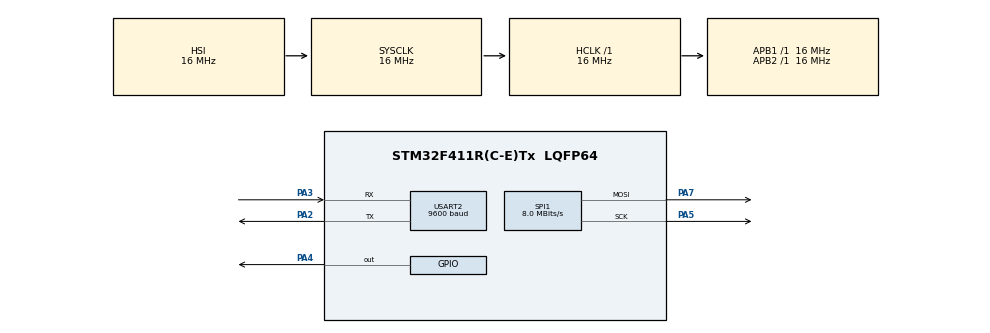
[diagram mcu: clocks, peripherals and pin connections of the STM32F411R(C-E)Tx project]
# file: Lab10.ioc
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Mcu.Family=STM32F4
Mcu.Name=STM32F411R(C-E)Tx
Mcu.Package=LQFP64
NVIC.PriorityGroup=NVIC_PRIORITYGROUP_4
NVIC.SPI1_IRQn=true\:0\:0\:false\:false\:true\:true\:true\:true
NVIC.TIM2_IRQn=true\:0\:0\:false\:false\:true\:true\:true\:true
NVIC.TIM3_IRQn=true\:0\:0\:false\:false\:true\:true\:true\:true
NVIC.USART2_IRQn=true\:0\:0\:false\:false\:true\:true\:true\:true
PA13.Mode=Serial_Wire
PA13.Signal=SYS_JTMS-SWDIO
PA14.Mode=Serial_Wire
PA14.Signal=SYS_JTCK-SWCLK
PA2.Mode=Asynchronous
PA2.Signal=USART2_TX
PA3.Mode=Asynchronous
PA3.Signal=USART2_RX
PA4.Signal=GPIO_Output
PA5.Mode=TX_Only_Simplex_Unidirect_Master
PA5.Signal=SPI1_SCK
PA7.Mode=TX_Only_Simplex_Unidirect_Master
PA7.Signal=SPI1_MOSI
PH0\ -\ OSC_IN.Mode=HSE-External-Oscillator
PH0\ -\ OSC_IN.Signal=RCC_OSC_IN
PH1\ -\ OSC_OUT.Mode=HSE-External-Oscillator
PH1\ -\ OSC_OUT.Signal=RCC_OSC_OUT
ProjectManager.HeapSize=0x200
ProjectManager.StackSize=0x400
ProjectManager.TargetToolchain=MDK-ARM V5.32
RCC.AHBFreq_Value=16000000
RCC.APB1Freq_Value=16000000
RCC.APB2Freq_Value=16000000
RCC.CortexFreq_Value=16000000
RCC.HSE_VALUE=25000000
RCC.HSI_VALUE=16000000
RCC.LSE_VALUE=32768
RCC.SYSCLKFreq_VALUE=16000000
RCC.VCOOutputFreq_Value=192000000
SPI1.CalculateBaudRate=8.0 MBits/s
SPI1.Direction=SPI_DIRECTION_2LINES
SPI1.Mode=SPI_MODE_MASTER
SPI1.VirtualType=VM_MASTER
TIM2.Period=1000-1
TIM2.Prescaler=16000-1
TIM3.Period=500-1
TIM3.Prescaler=16000-1
USART2.BaudRate=9600
USART2.VirtualMode=VM_ASYNC
VP_TIM2_VS_ClockSourceINT.Mode=Internal
VP_TIM3_VS_ClockSourceINT.Mode=Internal
board=custom

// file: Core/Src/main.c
/* USER CODE BEGIN Header */
/**
  ******************************************************************************
  * @file           : main.c
  * @brief          : Main program body
  ******************************************************************************
  * @attention
  *
  * Copyright (c) 2023 STMicroelectronics.
  * All rights reserved.
  *
  * This software is licensed under terms that can be found in the LICENSE file
  * in the root directory of this software component.
  * If no LICENSE file comes with this software, it is provided AS-IS.
  *
  ******************************************************************************
  */
/* USER CODE END Header */
#include "main.h"

/* USER CODE BEGIN PD */
/* MAX7219 Registers */
#define MAX7219_REG_NOOP        0x00
#define MAX7219_REG_DIGIT0      0x01
#define MAX7219_REG_DECODEMODE  0x09
#define MAX7219_REG_INTENSITY   0x0A
#define MAX7219_REG_SCANLIMIT   0x0B
#define MAX7219_REG_SHUTDOWN    0x0C
#define MAX7219_REG_DISPLAYTEST 0x0F
/* USER CODE END PD */

SPI_HandleTypeDef hspi1;

TIM_HandleTypeDef htim2;
TIM_HandleTypeDef htim3;

UART_HandleTypeDef huart2;

/* USER CODE BEGIN PV */
uint8_t Rx_data[10];
uint8_t write_buffer[2000];
volatile int write_buffer_tail = 0;
char N_str[10];
int N_str_tail = 0;
volatile int N = 0;
volatile int row = 1;
/* USER CODE END PV */

void SystemClock_Config(void);
static void MX_GPIO_Init(void);
static void MX_TIM2_Init(void);
static void MX_SPI1_Init(void);
static void MX_USART2_UART_Init(void);
static void MX_TIM3_Init(void);
/* USER CODE BEGIN PFP */
int pascal(int row, int col);
int atoi(char* str);
void itoa(int num, char* str);
int intlen(int num);
void string_to_buffer(char* str);
void char_to_buffer(char c);
void indent(int num);
void MAX7219_DisplayNumber(uint8_t digit, uint8_t value);
void MAX7219_Init();
void MAX7219_Write(uint8_t reg, uint8_t data);
void MAX7219_ClearAllDigits();
/* USER CODE END PFP */

/* USER CODE BEGIN 0 */

int pascal_output[1000], pcnt, pascal_output_flag = 0, pointer;

void HAL_UART_RxCpltCallback(UART_HandleTypeDef *huart)
{
  if (Rx_data[0] != '\r')
  {
    N_str[N_str_tail++] = Rx_data[0];
    HAL_UART_Transmit_IT(&huart2, Rx_data, 1);
    HAL_UART_Receive_IT (&huart2, Rx_data, 1);
  }
  else
  {
    N_str[N_str_tail] = '\0';
    N_str_tail = 0;
    N = atoi(N_str);
		row = N;
		pascal_output_flag = 0;

    char_to_buffer('\r');
    char_to_buffer('\n');
    HAL_UART_Transmit_IT(&huart2, write_buffer, write_buffer_tail);
  }
}

void HAL_UART_TxCpltCallback(UART_HandleTypeDef *huart)
{
  write_buffer_tail = 0;
}

void MAX7219_displayPascal() {
	if(N == 0) return;
	int r = N;

	if(pascal_output_flag == 0) {
		pcnt = 0;
		pointer = 0;

		for(; pcnt<8; pcnt++) {
			pascal_output[pcnt] = 0x0F;
		}

		for(int i=1; i<=r; i++) {
			int num = pascal(r, i), d=0;
			int digits[10];
			while(num > 0) {
				digits[d] = num%10;
				d++;
				num /= 10;
			}
			for(int i=d-1; i>=0; i--) {
				pascal_output[pcnt] = digits[i];
				pcnt++;
			}
			pascal_output[pcnt] = 0x0F;
			pcnt++;
		}
		pascal_output_flag = 1;
	}

	int k = pointer;
	for(int i=7; i>=0; i--) {
		if(k >= pcnt) {
			k = 0;
		}
		MAX7219_DisplayNumber(i, pascal_output[k]);
		k++;
	}
	pointer++;
	if(pointer>=pcnt) {
		pointer = 0;
	}
}

volatile int TIM2_cnt = 0, display_flag = 0, first_flag = 1;
void HAL_TIM_PeriodElapsedCallback(TIM_HandleTypeDef *htim)
{
//	if (htim->Instance == TIM2 && first_flag == 1)
//	{
//		//MAX7219_displayPascal();
//		if (row <= N)
//		{
//			indent(N - row);
//
//			for (int i = 1; i <= row; i++) // Origin: i = 1
//			{
//				int num = pascal(row, i);
//				char str[10];
//				itoa(num, str);
//
//				string_to_buffer(str);
//				char_to_buffer(' ');
//			}
//			char_to_buffer('\r');
//			char_to_buffer('\n');

//			HAL_UART_Transmit_IT(&huart2, write_buffer, write_buffer_tail);

//
////			if (++row > N)
////			{
////				char_to_buffer('\r');
////				char_to_buffer('\n');
////				char str[] = "Enter N: \0";
////				string_to_buffer(str);
////				HAL_UART_Transmit_IT(&huart2, write_buffer, write_buffer_tail);
////
////				HAL_UART_Receive_IT (&huart2, Rx_data, 1);

////				row = N;
////				//N = 0;
////			}
//		}
//		first_flag = 0;
//	}
	if(htim->Instance == TIM3) {
		MAX7219_displayPascal();
	}
}

int pascal(int row, int col)
{
	if (col == 1 || row == col)
		return 1;
	else
		return pascal(row - 1, col) + pascal(row - 1, col - 1);
}

int atoi(char* str)
{
  int res = 0;
  for (int i = 0; str[i] != '\0'; ++i)
    res = res * 10 + str[i] - '0';
  return res;
}

void itoa(int num, char* str)
{
  if (num == 0)
  {
    str[0] = '0';
    str[1] = '\0';
    return;
  }

  int i = intlen(num);
  str[i--] = '\0';

  while (num != 0)
  {
    int rem = num % 10;
    str[i--] = rem + '0';
    num = num/10;
  }
}

int intlen(int num)
{
  int len = 0;
  while (num != 0)
  {
    num = num/10;
    len++;
  }
  return len;
}

void string_to_buffer(char* str)
{
  for (int i = 0; str[i] != '\0'; i++)
  {
    write_buffer[write_buffer_tail++] = str[i];
  }
}

void char_to_buffer(char c)
{
  write_buffer[write_buffer_tail++] = c;
}

void indent(int num)
{
  for (int i = 0; i < num; i++)
  {
    write_buffer[write_buffer_tail++] = ' ';
  }
}

void MAX7219_Write(uint8_t reg, uint8_t data) {
    uint8_t txData[2];
    txData[0] = reg;
    txData[1] = data;
    HAL_GPIO_WritePin(GPIOA, GPIO_PIN_4, GPIO_PIN_RESET);
    HAL_SPI_Transmit(&hspi1, txData, 2, 100);
    HAL_GPIO_WritePin(GPIOA, GPIO_PIN_4, GPIO_PIN_SET);
}

void MAX7219_Init() {
    MAX7219_Write(MAX7219_REG_SHUTDOWN, 0x01);      // Exit shutdown mode
    MAX7219_Write(MAX7219_REG_SCANLIMIT, 0x07);     // Scan all digits
    MAX7219_Write(MAX7219_REG_DECODEMODE, 0xFF);    // Use BCD decode for all digits
    MAX7219_Write(MAX7219_REG_DISPLAYTEST, 0x00);   // Disable test mode
    MAX7219_Write(MAX7219_REG_INTENSITY, 0x0F);     // Set brightness
		MAX7219_ClearAllDigits(); // Clear Digits
}

void MAX7219_DisplayNumber(uint8_t digit, uint8_t value) {
    MAX7219_Write(MAX7219_REG_DIGIT0 + digit, value);
}

void MAX7219_ClearAllDigits() {
    for (uint8_t i = 0; i < 8; i++) {
        MAX7219_Write(MAX7219_REG_DIGIT0 + i, 0x0F); // Send blank code
    }
}

/* USER CODE END 0 */

int main(void)
{

  /* MCU Configuration--------------------------------------------------------*/

  /* Reset of all peripherals, Initializes the Flash interface and the Systick. */
  HAL_Init();

  /* Configure the system clock */
  SystemClock_Config();

  /* Initialize all configured peripherals */
  MX_GPIO_Init();
  MX_TIM2_Init();
  MX_SPI1_Init();
  MX_USART2_UART_Init();
  MX_TIM3_Init();
  /* USER CODE BEGIN 2 */
	MAX7219_Init();
  char str[] = "Enter N: \0";
  string_to_buffer(str);
  HAL_UART_Transmit_IT(&huart2, write_buffer, write_buffer_tail);

	HAL_UART_Receive_IT (&huart2, Rx_data, 1);
	HAL_TIM_Base_Start_IT(&htim2);
	HAL_TIM_Base_Start_IT(&htim3);

  /* USER CODE END 2 */

  /* Infinite loop */
  while (1)
  {

  }
}

void SystemClock_Config(void)
{
  RCC_OscInitTypeDef RCC_OscInitStruct = {0};
  RCC_ClkInitTypeDef RCC_ClkInitStruct = {0};

  /** Configure the main internal regulator output voltage
  */
  __HAL_RCC_PWR_CLK_ENABLE();
  __HAL_PWR_VOLTAGESCALING_CONFIG(PWR_REGULATOR_VOLTAGE_SCALE1);

  /** Initializes the RCC Oscillators according to the specified parameters
  * in the RCC_OscInitTypeDef structure.
  */
  RCC_OscInitStruct.OscillatorType = RCC_OSCILLATORTYPE_HSI;
  RCC_OscInitStruct.HSIState = RCC_HSI_ON;
  RCC_OscInitStruct.HSICalibrationValue = RCC_HSICALIBRATION_DEFAULT;
  RCC_OscInitStruct.PLL.PLLState = RCC_PLL_NONE;
  if (HAL_RCC_OscConfig(&RCC_OscInitStruct) != HAL_OK)
  {
    Error_Handler();
  }

  /** Initializes the CPU, AHB and APB buses clocks
  */
  RCC_ClkInitStruct.ClockType = RCC_CLOCKTYPE_HCLK|RCC_CLOCKTYPE_SYSCLK
                              |RCC_CLOCKTYPE_PCLK1|RCC_CLOCKTYPE_PCLK2;
  RCC_ClkInitStruct.SYSCLKSource = RCC_SYSCLKSOURCE_HSI;
  RCC_ClkInitStruct.AHBCLKDivider = RCC_SYSCLK_DIV1;
  RCC_ClkInitStruct.APB1CLKDivider = RCC_HCLK_DIV1;
  RCC_ClkInitStruct.APB2CLKDivider = RCC_HCLK_DIV1;

  if (HAL_RCC_ClockConfig(&RCC_ClkInitStruct, FLASH_LATENCY_0) != HAL_OK)
  {
    Error_Handler();
  }
}

static void MX_SPI1_Init(void)
{

  /* SPI1 parameter configuration*/
  hspi1.Instance = SPI1;
  hspi1.Init.Mode = SPI_MODE_MASTER;
  hspi1.Init.Direction = SPI_DIRECTION_2LINES;
  hspi1.Init.DataSize = SPI_DATASIZE_8BIT;
  hspi1.Init.CLKPolarity = SPI_POLARITY_LOW;
  hspi1.Init.CLKPhase = SPI_PHASE_1EDGE;
  hspi1.Init.NSS = SPI_NSS_SOFT;
  hspi1.Init.BaudRatePrescaler = SPI_BAUDRATEPRESCALER_2;
  hspi1.Init.FirstBit = SPI_FIRSTBIT_MSB;
  hspi1.Init.TIMode = SPI_TIMODE_DISABLE;
  hspi1.Init.CRCCalculation = SPI_CRCCALCULATION_DISABLE;
  hspi1.Init.CRCPolynomial = 10;
  if (HAL_SPI_Init(&hspi1) != HAL_OK)
  {
    Error_Handler();
  }

}

static void MX_TIM2_Init(void)
{

  TIM_ClockConfigTypeDef sClockSourceConfig = {0};
  TIM_MasterConfigTypeDef sMasterConfig = {0};

  htim2.Instance = TIM2;
  htim2.Init.Prescaler = 16000-1;
  htim2.Init.CounterMode = TIM_COUNTERMODE_UP;
  htim2.Init.Period = 1000-1;
  htim2.Init.ClockDivision = TIM_CLOCKDIVISION_DIV1;
  htim2.Init.AutoReloadPreload = TIM_AUTORELOAD_PRELOAD_DISABLE;
  if (HAL_TIM_Base_Init(&htim2) != HAL_OK)
  {
    Error_Handler();
  }
  sClockSourceConfig.ClockSource = TIM_CLOCKSOURCE_INTERNAL;
  if (HAL_TIM_ConfigClockSource(&htim2, &sClockSourceConfig) != HAL_OK)
  {
    Error_Handler();
  }
  sMasterConfig.MasterOutputTrigger = TIM_TRGO_RESET;
  sMasterConfig.MasterSlaveMode = TIM_MASTERSLAVEMODE_DISABLE;
  if (HAL_TIMEx_MasterConfigSynchronization(&htim2, &sMasterConfig) != HAL_OK)
  {
    Error_Handler();
  }

}

static void MX_TIM3_Init(void)
{

  TIM_ClockConfigTypeDef sClockSourceConfig = {0};
  TIM_MasterConfigTypeDef sMasterConfig = {0};

  htim3.Instance = TIM3;
  htim3.Init.Prescaler = 16000-1;
  htim3.Init.CounterMode = TIM_COUNTERMODE_UP;
  htim3.Init.Period = 500-1;
  htim3.Init.ClockDivision = TIM_CLOCKDIVISION_DIV1;
  htim3.Init.AutoReloadPreload = TIM_AUTORELOAD_PRELOAD_DISABLE;
  if (HAL_TIM_Base_Init(&htim3) != HAL_OK)
  {
    Error_Handler();
  }
  sClockSourceConfig.ClockSource = TIM_CLOCKSOURCE_INTERNAL;
  if (HAL_TIM_ConfigClockSource(&htim3, &sClockSourceConfig) != HAL_OK)
  {
    Error_Handler();
  }
  sMasterConfig.MasterOutputTrigger = TIM_TRGO_RESET;
  sMasterConfig.MasterSlaveMode = TIM_MASTERSLAVEMODE_DISABLE;
  if (HAL_TIMEx_MasterConfigSynchronization(&htim3, &sMasterConfig) != HAL_OK)
  {
    Error_Handler();
  }

}

static void MX_USART2_UART_Init(void)
{

  huart2.Instance = USART2;
  huart2.Init.BaudRate = 9600;
  huart2.Init.WordLength = UART_WORDLENGTH_8B;
  huart2.Init.StopBits = UART_STOPBITS_1;
  huart2.Init.Parity = UART_PARITY_NONE;
  huart2.Init.Mode = UART_MODE_TX_RX;
  huart2.Init.HwFlowCtl = UART_HWCONTROL_NONE;
  huart2.Init.OverSampling = UART_OVERSAMPLING_16;
  if (HAL_UART_Init(&huart2) != HAL_OK)
  {
    Error_Handler();
  }

}

static void MX_GPIO_Init(void)
{
  GPIO_InitTypeDef GPIO_InitStruct = {0};

  /* GPIO Ports Clock Enable */
  __HAL_RCC_GPIOH_CLK_ENABLE();
  __HAL_RCC_GPIOA_CLK_ENABLE();

  /*Configure GPIO pin Output Level */
  HAL_GPIO_WritePin(GPIOA, GPIO_PIN_4, GPIO_PIN_RESET);

  /*Configure GPIO pin : PA4 */
  GPIO_InitStruct.Pin = GPIO_PIN_4;
  GPIO_InitStruct.Mode = GPIO_MODE_OUTPUT_PP;
  GPIO_InitStruct.Pull = GPIO_NOPULL;
  GPIO_InitStruct.Speed = GPIO_SPEED_FREQ_LOW;
  HAL_GPIO_Init(GPIOA, &GPIO_InitStruct);

}

void Error_Handler(void)
{
  __disable_irq();
  while (1)
  {
  }
}
